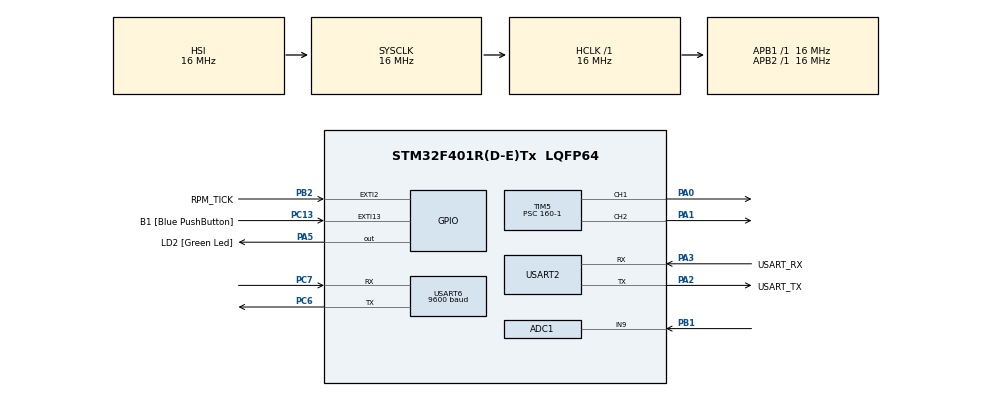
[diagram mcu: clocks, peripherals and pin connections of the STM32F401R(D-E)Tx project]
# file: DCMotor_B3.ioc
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ADC1.Channel-0\#ChannelRegularConversion=ADC_CHANNEL_9
ADC1.NbrOfConversionFlag=1
ADC1.Rank-0\#ChannelRegularConversion=1
ADC1.Resolution=ADC_RESOLUTION_8B
ADC1.SamplingTime-0\#ChannelRegularConversion=ADC_SAMPLETIME_15CYCLES
ADC1.ScanConvMode=ENABLE
ADC1.master=1
Mcu.Family=STM32F4
Mcu.Name=STM32F401R(D-E)Tx
Mcu.Package=LQFP64
NVIC.EXTI2_IRQn=true\:0\:0\:false\:false\:true\:true\:true\:true
NVIC.PriorityGroup=NVIC_PRIORITYGROUP_0
NVIC.TIM4_IRQn=true\:0\:0\:false\:false\:true\:true\:true\:true
NVIC.USART6_IRQn=true\:0\:0\:false\:false\:true\:true\:true\:true
PA0-WKUP.Signal=S_TIM5_CH1
PA1.Signal=S_TIM5_CH2
PA13.GPIO_Label=TMS
PA13.Mode=Serial_Wire
PA13.Signal=SYS_JTMS-SWDIO
PA14.GPIO_Label=TCK
PA14.Mode=Serial_Wire
PA14.Signal=SYS_JTCK-SWCLK
PA2.GPIO_Label=USART_TX
PA2.GPIO_Mode=GPIO_MODE_AF_PP
PA2.GPIO_PuPd=GPIO_NOPULL
PA2.GPIO_Speed=GPIO_SPEED_FREQ_LOW
PA2.Mode=Asynchronous
PA2.Signal=USART2_TX
PA3.GPIO_Label=USART_RX
PA3.GPIO_Mode=GPIO_MODE_AF_PP
PA3.GPIO_PuPd=GPIO_NOPULL
PA3.GPIO_Speed=GPIO_SPEED_FREQ_LOW
PA3.Mode=Asynchronous
PA3.Signal=USART2_RX
PA5.GPIO_Label=LD2 [Green Led]
PA5.GPIO_Mode=GPIO_MODE_OUTPUT_PP
PA5.GPIO_PuPd=GPIO_NOPULL
PA5.GPIO_Speed=GPIO_SPEED_FREQ_LOW
PA5.Signal=GPIO_Output
PB1.Signal=ADCx_IN9
PB2.GPIO_Label=RPM_TICK
PB2.GPIO_PuPd=GPIO_PULLDOWN
PB2.Signal=GPXTI2
PB3.GPIO_Label=SWO
PB3.Signal=SYS_JTDO-SWO
PC13-ANTI_TAMP.GPIO_Label=B1 [Blue PushButton]
PC13-ANTI_TAMP.GPIO_ModeDefaultEXTI=GPIO_MODE_IT_FALLING
PC13-ANTI_TAMP.GPIO_PuPd=GPIO_NOPULL
PC13-ANTI_TAMP.Signal=GPXTI13
PC14-OSC32_IN.Mode=LSE-External-Oscillator
PC14-OSC32_IN.Signal=RCC_OSC32_IN
PC15-OSC32_OUT.Mode=LSE-External-Oscillator
PC15-OSC32_OUT.Signal=RCC_OSC32_OUT
PC6.Mode=Asynchronous
PC6.Signal=USART6_TX
PC7.Mode=Asynchronous
PC7.Signal=USART6_RX
PH0\ -\ OSC_IN.Mode=HSE-External-Clock-Source
PH0\ -\ OSC_IN.Signal=RCC_OSC_IN
PH1\ -\ OSC_OUT.Mode=HSE-External-Clock-Source
PH1\ -\ OSC_OUT.Signal=RCC_OSC_OUT
ProjectManager.HeapSize=0x200
ProjectManager.StackSize=0x400
ProjectManager.TargetToolchain=STM32CubeIDE
RCC.48MHZClocksFreq_Value=48000000
RCC.AHBFreq_Value=16000000
RCC.APB1Freq_Value=16000000
RCC.APB1TimFreq_Value=16000000
RCC.APB2Freq_Value=16000000
RCC.APB2TimFreq_Value=16000000
RCC.CortexFreq_Value=16000000
RCC.HCLKFreq_Value=16000000
RCC.HSE_VALUE=8000000
RCC.HSI_VALUE=16000000
RCC.PLLN=336
RCC.PLLP=RCC_PLLP_DIV4
RCC.PLLQ=7
RCC.SYSCLKFreq_VALUE=16000000
RCC.VCOOutputFreq_Value=336000000
SH.ADCx_IN9.0=ADC1_IN9,IN9
SH.S_TIM5_CH1.0=TIM5_CH1,PWM Generation1 CH1
SH.S_TIM5_CH2.0=TIM5_CH2,PWM Generation2 CH2
TIM4.AutoReloadPreload=TIM_AUTORELOAD_PRELOAD_ENABLE
TIM4.Period=1000-1
TIM4.Prescaler=16000-1
TIM5.AutoReloadPreload=TIM_AUTORELOAD_PRELOAD_ENABLE
TIM5.Channel-PWM\ Generation1\ CH1=TIM_CHANNEL_1
TIM5.Channel-PWM\ Generation2\ CH2=TIM_CHANNEL_2
TIM5.Period=100-1
TIM5.Prescaler=160-1
TIM5.Pulse-PWM\ Generation1\ CH1=50-1
TIM5.Pulse-PWM\ Generation2\ CH2=50-1
USART2.VirtualMode=VM_ASYNC
USART6.BaudRate=9600
USART6.Mode=MODE_TX_RX
USART6.VirtualMode=VM_ASYNC
VP_TIM4_VS_ClockSourceINT.Mode=Internal
VP_TIM5_VS_ClockSourceINT.Mode=Internal
board=NUCLEO-F401RE

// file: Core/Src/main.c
/* USER CODE BEGIN Header */
/**
  ******************************************************************************
  * @file           : main.c
  * @brief          : Main program body
  ******************************************************************************
  * @attention
  *
  * Copyright (c) 2023 STMicroelectronics.
  * All rights reserved.
  *
  * This software is licensed under terms that can be found in the LICENSE file
  * in the root directory of this software component.
  * If no LICENSE file comes with this software, it is provided AS-IS.
  *
  ******************************************************************************
  */
/* USER CODE END Header */
#include "main.h"

/* USER CODE BEGIN PD */

uint8_t byte;
/* USER CODE END PD */

ADC_HandleTypeDef hadc1;

TIM_HandleTypeDef htim4;
TIM_HandleTypeDef htim5;

UART_HandleTypeDef huart2;
UART_HandleTypeDef huart6;

void SystemClock_Config(void);
static void MX_GPIO_Init(void);
static void MX_USART2_UART_Init(void);
static void MX_ADC1_Init(void);
static void MX_USART6_UART_Init(void);
static void MX_TIM5_Init(void);
static void MX_TIM4_Init(void);
/* USER CODE BEGIN PFP */
static void ADC_Select_CH(int CH);
/* USER CODE END PFP */

/* USER CODE BEGIN 0 */
uint8_t rcv_intpt_flag = 0;
uint16_t rpm_tick_count = 0;
void ADC_Select_CH(int CH){
	ADC_ChannelConfTypeDef sConfig = {0};
	switch(CH){
	case 0:
	sConfig.Channel = ADC_CHANNEL_0;
	sConfig.Rank = 1;
	if (HAL_ADC_ConfigChannel(&hadc1, &sConfig) != HAL_OK){
		Error_Handler();
	}
	break;
	case 1:
	sConfig.Channel = ADC_CHANNEL_1;
	sConfig.Rank = 1;
	if (HAL_ADC_ConfigChannel(&hadc1, &sConfig) != HAL_OK){
		Error_Handler();
	}
	break;
	case 2:
	sConfig.Channel = ADC_CHANNEL_2;
	sConfig.Rank = 1;
	if (HAL_ADC_ConfigChannel(&hadc1, &sConfig) != HAL_OK){
		Error_Handler();
	}
	break;
	case 3:
	sConfig.Channel = ADC_CHANNEL_3;
	sConfig.Rank = 1;
	if (HAL_ADC_ConfigChannel(&hadc1, &sConfig) != HAL_OK){
		Error_Handler();
	}
	break;
	case 4:
	sConfig.Channel = ADC_CHANNEL_4;
	sConfig.Rank = 1;
	if (HAL_ADC_ConfigChannel(&hadc1, &sConfig) != HAL_OK){
		Error_Handler();
	}
	break;
	case 5:
	sConfig.Channel = ADC_CHANNEL_5;
	sConfig.Rank = 1;
	if (HAL_ADC_ConfigChannel(&hadc1, &sConfig) != HAL_OK){
		Error_Handler();
	}
	break;
	case 6:
	sConfig.Channel = ADC_CHANNEL_6;
	sConfig.Rank = 1;
	if (HAL_ADC_ConfigChannel(&hadc1, &sConfig) != HAL_OK){
		Error_Handler();
	}
	break;
	case 7:
	sConfig.Channel = ADC_CHANNEL_7;
	sConfig.Rank = 1;
	if (HAL_ADC_ConfigChannel(&hadc1, &sConfig) != HAL_OK){
		Error_Handler();
	}
	break;
	case 8:
	sConfig.Channel = ADC_CHANNEL_8;
	sConfig.Rank = 1;
	if (HAL_ADC_ConfigChannel(&hadc1, &sConfig) != HAL_OK){
		Error_Handler();
	}
	break;
	case 9:
	sConfig.Channel = ADC_CHANNEL_9;
	sConfig.Rank = 1;
	if (HAL_ADC_ConfigChannel(&hadc1, &sConfig) != HAL_OK){
		Error_Handler();
	}
	break;
	case 10:
	sConfig.Channel = ADC_CHANNEL_10;
	sConfig.Rank = 1;
	if (HAL_ADC_ConfigChannel(&hadc1, &sConfig) != HAL_OK){
		Error_Handler();
	}
	break;
	case 11:
	sConfig.Channel = ADC_CHANNEL_11;
	sConfig.Rank = 1;
	if (HAL_ADC_ConfigChannel(&hadc1, &sConfig) != HAL_OK){
		Error_Handler();
	}
	break;
	case 12:
	sConfig.Channel = ADC_CHANNEL_12;
	sConfig.Rank = 1;
	if (HAL_ADC_ConfigChannel(&hadc1, &sConfig) != HAL_OK){
		Error_Handler();
	}
	break;
	case 13:
	sConfig.Channel = ADC_CHANNEL_13;
	sConfig.Rank = 1;
	if (HAL_ADC_ConfigChannel(&hadc1, &sConfig) != HAL_OK){
		Error_Handler();
	}
	break;
	case 14:
	sConfig.Channel = ADC_CHANNEL_14;
	sConfig.Rank = 1;
	if (HAL_ADC_ConfigChannel(&hadc1, &sConfig) != HAL_OK){
		Error_Handler();
	}
	break;
	case 15:
	sConfig.Channel = ADC_CHANNEL_15;
	sConfig.Rank = 1;
	if (HAL_ADC_ConfigChannel(&hadc1, &sConfig) != HAL_OK){
		Error_Handler();
	}
	break;
	}
}

//void DIGIT_A_Display(uint8_t DIGIT_A)
//{
//	 uint8_t DIGITA_VAL = 0x0F & DIGIT_A; //mask off higher4 buts
//
//	 switch(DIGITA_VAL)
//	 {
//	 case 0:
//		 HAL_GPIO_WritePin(GPIOB, DIGIT_A0_Pin, GPIO_PIN_RESET);
//		 HAL_GPIO_WritePin(GPIOB, DIGIT_A1_Pin, GPIO_PIN_RESET);
//		 HAL_GPIO_WritePin(GPIOB, DIGIT_A2_Pin, GPIO_PIN_RESET);
//		 HAL_GPIO_WritePin(GPIOB, DIGIT_A3_Pin, GPIO_PIN_RESET);
//	 break;
//	 case 1:
//		 HAL_GPIO_WritePin(GPIOB, DIGIT_A0_Pin, GPIO_PIN_SET);
//		 HAL_GPIO_WritePin(GPIOB, DIGIT_A1_Pin, GPIO_PIN_RESET);
//		 HAL_GPIO_WritePin(GPIOB, DIGIT_A2_Pin, GPIO_PIN_RESET);
//		 HAL_GPIO_WritePin(GPIOB, DIGIT_A3_Pin, GPIO_PIN_RESET);
//	 break;
//	 case 2:
//		 HAL_GPIO_WritePin(GPIOB, DIGIT_A0_Pin, GPIO_PIN_RESET);
//		 HAL_GPIO_WritePin(GPIOB, DIGIT_A1_Pin, GPIO_PIN_SET);
//		 HAL_GPIO_WritePin(GPIOB, DIGIT_A2_Pin, GPIO_PIN_RESET);
//		 HAL_GPIO_WritePin(GPIOB, DIGIT_A3_Pin, GPIO_PIN_RESET);
//	 break;
//	 case 3:
//		 HAL_GPIO_WritePin(GPIOB, DIGIT_A0_Pin, GPIO_PIN_SET);
//		 HAL_GPIO_WritePin(GPIOB, DIGIT_A1_Pin, GPIO_PIN_SET);
//		 HAL_GPIO_WritePin(GPIOB, DIGIT_A2_Pin, GPIO_PIN_RESET);
//		 HAL_GPIO_WritePin(GPIOB, DIGIT_A3_Pin, GPIO_PIN_RESET);
//	 break;
//	 case 4:
//		 HAL_GPIO_WritePin(GPIOB, DIGIT_A0_Pin, GPIO_PIN_RESET);
//		 HAL_GPIO_WritePin(GPIOB, DIGIT_A1_Pin, GPIO_PIN_RESET);
//		 HAL_GPIO_WritePin(GPIOB, DIGIT_A2_Pin, GPIO_PIN_SET);
//		 HAL_GPIO_WritePin(GPIOB, DIGIT_A3_Pin, GPIO_PIN_RESET);
//	 break;
//	 case 5:
//		 HAL_GPIO_WritePin(GPIOB, DIGIT_A0_Pin, GPIO_PIN_SET);
//		 HAL_GPIO_WritePin(GPIOB, DIGIT_A1_Pin, GPIO_PIN_RESET);
//		 HAL_GPIO_WritePin(GPIOB, DIGIT_A2_Pin, GPIO_PIN_SET);
//		 HAL_GPIO_WritePin(GPIOB, DIGIT_A3_Pin, GPIO_PIN_RESET);
//	 break;
//	 case 6:
//		 HAL_GPIO_WritePin(GPIOB, DIGIT_A0_Pin, GPIO_PIN_RESET);
//		 HAL_GPIO_WritePin(GPIOB, DIGIT_A1_Pin, GPIO_PIN_SET);
//		 HAL_GPIO_WritePin(GPIOB, DIGIT_A2_Pin, GPIO_PIN_SET);
//		 HAL_GPIO_WritePin(GPIOB, DIGIT_A3_Pin, GPIO_PIN_RESET);
//	 break;
//	 case 7:
//		 HAL_GPIO_WritePin(GPIOB, DIGIT_A0_Pin, GPIO_PIN_SET);
//		 HAL_GPIO_WritePin(GPIOB, DIGIT_A1_Pin, GPIO_PIN_SET);
//		 HAL_GPIO_WritePin(GPIOB, DIGIT_A2_Pin, GPIO_PIN_SET);
//		 HAL_GPIO_WritePin(GPIOB, DIGIT_A3_Pin, GPIO_PIN_RESET);
//	 break;
//	 case 8:
//		 HAL_GPIO_WritePin(GPIOB, DIGIT_A0_Pin, GPIO_PIN_RESET);
//		 HAL_GPIO_WritePin(GPIOB, DIGIT_A1_Pin, GPIO_PIN_RESET);
//		 HAL_GPIO_WritePin(GPIOB, DIGIT_A2_Pin, GPIO_PIN_RESET);
//		 HAL_GPIO_WritePin(GPIOB, DIGIT_A3_Pin, GPIO_PIN_SET);
//	 break;
//	 case 9:
//		 HAL_GPIO_WritePin(GPIOB, DIGIT_A0_Pin, GPIO_PIN_SET);
//		 HAL_GPIO_WritePin(GPIOB, DIGIT_A1_Pin, GPIO_PIN_RESET);
//		 HAL_GPIO_WritePin(GPIOB, DIGIT_A2_Pin, GPIO_PIN_RESET);
//		 HAL_GPIO_WritePin(GPIOB, DIGIT_A3_Pin, GPIO_PIN_SET);
//	 break;
//	 }
//}
//
//void DIGIT_B_Display(uint8_t DIGIT_B)
//{
//	 uint8_t DIGITB_VAL = 0x0F & DIGIT_B; //mask off higher4 buts
//
//	 switch(DIGITB_VAL)
//	 {
//	 case 0:
//		 HAL_GPIO_WritePin(GPIOB, DIGIT_B0_Pin, GPIO_PIN_RESET);
//		 HAL_GPIO_WritePin(GPIOB, DIGIT_B1_Pin, GPIO_PIN_RESET);
//		 HAL_GPIO_WritePin(GPIOB, DIGIT_B2_Pin, GPIO_PIN_RESET);
//		 HAL_GPIO_WritePin(GPIOB, DIGIT_B3_Pin, GPIO_PIN_RESET);
//	 break;
//	 case 1:
//		 HAL_GPIO_WritePin(GPIOB, DIGIT_B0_Pin, GPIO_PIN_SET);
//		 HAL_GPIO_WritePin(GPIOB, DIGIT_B1_Pin, GPIO_PIN_RESET);
//		 HAL_GPIO_WritePin(GPIOB, DIGIT_B2_Pin, GPIO_PIN_RESET);
//		 HAL_GPIO_WritePin(GPIOB, DIGIT_B3_Pin, GPIO_PIN_RESET);
//	 break;
//	 case 2:
//		 HAL_GPIO_WritePin(GPIOB, DIGIT_B0_Pin, GPIO_PIN_RESET);
//		 HAL_GPIO_WritePin(GPIOB, DIGIT_B1_Pin, GPIO_PIN_SET);
//		 HAL_GPIO_WritePin(GPIOB, DIGIT_B2_Pin, GPIO_PIN_RESET);
//		 HAL_GPIO_WritePin(GPIOB, DIGIT_B3_Pin, GPIO_PIN_RESET);
//	 break;
//	 case 3:
//		 HAL_GPIO_WritePin(GPIOB, DIGIT_B0_Pin, GPIO_PIN_SET);
//		 HAL_GPIO_WritePin(GPIOB, DIGIT_B1_Pin, GPIO_PIN_SET);
//		 HAL_GPIO_WritePin(GPIOB, DIGIT_B2_Pin, GPIO_PIN_RESET);
//		 HAL_GPIO_WritePin(GPIOB, DIGIT_B3_Pin, GPIO_PIN_RESET);
//	 break;
//	 case 4:
//		 HAL_GPIO_WritePin(GPIOB, DIGIT_B0_Pin, GPIO_PIN_RESET);
//		 HAL_GPIO_WritePin(GPIOB, DIGIT_B1_Pin, GPIO_PIN_RESET);
//		 HAL_GPIO_WritePin(GPIOB, DIGIT_B2_Pin, GPIO_PIN_SET);
//		 HAL_GPIO_WritePin(GPIOB, DIGIT_B3_Pin, GPIO_PIN_RESET);
//	 break;
//	 case 5:
//		 HAL_GPIO_WritePin(GPIOB, DIGIT_B0_Pin, GPIO_PIN_SET);
//		 HAL_GPIO_WritePin(GPIOB, DIGIT_B1_Pin, GPIO_PIN_RESET);
//		 HAL_GPIO_WritePin(GPIOB, DIGIT_B2_Pin, GPIO_PIN_SET);
//		 HAL_GPIO_WritePin(GPIOB, DIGIT_B3_Pin, GPIO_PIN_RESET);
//	 break;
//	 case 6:
//		 HAL_GPIO_WritePin(GPIOB, DIGIT_B0_Pin, GPIO_PIN_RESET);
//		 HAL_GPIO_WritePin(GPIOB, DIGIT_B1_Pin, GPIO_PIN_SET);
//		 HAL_GPIO_WritePin(GPIOB, DIGIT_B2_Pin, GPIO_PIN_SET);
//		 HAL_GPIO_WritePin(GPIOB, DIGIT_B3_Pin, GPIO_PIN_RESET);
//	 break;
//	 case 7:
//		 HAL_GPIO_WritePin(GPIOB, DIGIT_B0_Pin, GPIO_PIN_SET);
//		 HAL_GPIO_WritePin(GPIOB, DIGIT_B1_Pin, GPIO_PIN_SET);
//		 HAL_GPIO_WritePin(GPIOB, DIGIT_B2_Pin, GPIO_PIN_SET);
//		 HAL_GPIO_WritePin(GPIOB, DIGIT_B3_Pin, GPIO_PIN_RESET);
//	 break;
//	 case 8:
//		 HAL_GPIO_WritePin(GPIOB, DIGIT_B0_Pin, GPIO_PIN_RESET);
//		 HAL_GPIO_WritePin(GPIOB, DIGIT_B1_Pin, GPIO_PIN_RESET);
//		 HAL_GPIO_WritePin(GPIOB, DIGIT_B2_Pin, GPIO_PIN_RESET);
//		 HAL_GPIO_WritePin(GPIOB, DIGIT_B3_Pin, GPIO_PIN_SET);
//	 break;
//	 case 9:
//		 HAL_GPIO_WritePin(GPIOB, DIGIT_B0_Pin, GPIO_PIN_SET);
//		 HAL_GPIO_WritePin(GPIOB, DIGIT_B1_Pin, GPIO_PIN_RESET);
//		 HAL_GPIO_WritePin(GPIOB, DIGIT_B2_Pin, GPIO_PIN_RESET);
//		 HAL_GPIO_WritePin(GPIOB, DIGIT_B3_Pin, GPIO_PIN_SET);
//	 break;
//	 }
//}

/* USER CODE END 0 */

int main(void)
{
  /* USER CODE BEGIN 1 */
	uint8_t txd_msg_buffer[64] = {0};
	uint8_t rpm;
	int controlMode = 0;
	uint8_t motorSpeed;
  /* USER CODE END 1 */

  /* MCU Configuration--------------------------------------------------------*/

  /* Reset of all peripherals, Initializes the Flash interface and the Systick. */
  HAL_Init();

  /* Configure the system clock */
  SystemClock_Config();

  /* Initialize all configured peripherals */
  MX_GPIO_Init();
  MX_USART2_UART_Init();
  MX_ADC1_Init();
  MX_USART6_UART_Init();
  MX_TIM5_Init();
  MX_TIM4_Init();
  /* USER CODE BEGIN 2 */

  HAL_TIM_Base_Init(&htim5);
  HAL_TIM_PWM_Start(&htim5, TIM_CHANNEL_1);
  HAL_TIM_PWM_Start(&htim5, TIM_CHANNEL_2);

uint32_t RPM =0;
uint32_t time = 0;
uint32_t new_time=0;

sprintf((char*)txd_msg_buffer, "\r\n SETUP MODE");
HAL_UART_Transmit(&huart6,txd_msg_buffer, strlen((char*)txd_msg_buffer), 1000);

sprintf((char*)txd_msg_buffer, "\r\n MOTOR SPEED - enter 0 for manual mode: ");
HAL_UART_Transmit(&huart6,txd_msg_buffer, strlen((char*)txd_msg_buffer), 1000);
rcv_intpt_flag = 00;
HAL_UART_Receive_IT(&huart6, &byte, 1);

while(rcv_intpt_flag == (00)){}

controlMode = byte - '0';
  /* USER CODE END 2 */

  /* Infinite loop */
  /* USER CODE BEGIN WHILE */
HAL_TIM_Base_Start_IT(&htim4);
time = HAL_GetTick();
  while (1)
  {
	  //potentiometer code
	  //manual mode

	  ADC_Select_CH(9);
	  HAL_ADC_Start(&hadc1);
	  HAL_ADC_PollForConversion(&hadc1, 1000);
	  uint8_t ADC_CH9 = HAL_ADC_GetValue(&hadc1);
	  HAL_ADC_Stop(&hadc1);
	  if(controlMode == 0){
		  motorSpeed = ADC_CH9;
	  }
	  else{
		  motorSpeed = controlMode*10;
	  }

	  //motor code
	  if (ADC_CH9 <= 127){
		  TIM5->CCR2 = 0;
		  TIM5->CCR1 = 50 + ((255 - 50) / (127 - 0)) * (motorSpeed - 0);
		  //output = output_start + ((output_end - output_start) / (input_end - input_start)) * (input - input_start)

	  }
	  else{
		  TIM5->CCR1 = 0;
		  TIM5->CCR2 = 50 + ((255 - 50) / (255 - 128)) * (motorSpeed - 128);
	  }

	  if (HAL_GetTick() - time >= 1000)
	     {
		  RPM = (rpm_tick_count/20)*60;
		  rpm_tick_count =0;
		  sprintf((char*)txd_msg_buffer, "\r\n RPM: %d",RPM);
		  HAL_UART_Transmit(&huart6,txd_msg_buffer, strlen((char*)txd_msg_buffer), 1000);
		  time = HAL_GetTick();
	     }

	  //sprintf(txd_msg_buffer, ADC_CH9);
	  //HAL_UART_Transmit(&hadc1,txd_msg_buffer, strlen((char*)txd_msg_buffer), 1000);

    /* USER CODE END WHILE */

  }
}

void SystemClock_Config(void)
{
  RCC_OscInitTypeDef RCC_OscInitStruct = {0};
  RCC_ClkInitTypeDef RCC_ClkInitStruct = {0};

  /** Configure the main internal regulator output voltage
  */
  __HAL_RCC_PWR_CLK_ENABLE();
  __HAL_PWR_VOLTAGESCALING_CONFIG(PWR_REGULATOR_VOLTAGE_SCALE2);

  /** Initializes the RCC Oscillators according to the specified parameters
  * in the RCC_OscInitTypeDef structure.
  */
  RCC_OscInitStruct.OscillatorType = RCC_OSCILLATORTYPE_HSI;
  RCC_OscInitStruct.HSIState = RCC_HSI_ON;
  RCC_OscInitStruct.HSICalibrationValue = RCC_HSICALIBRATION_DEFAULT;
  RCC_OscInitStruct.PLL.PLLState = RCC_PLL_NONE;
  if (HAL_RCC_OscConfig(&RCC_OscInitStruct) != HAL_OK)
  {
    Error_Handler();
  }

  /** Initializes the CPU, AHB and APB buses clocks
  */
  RCC_ClkInitStruct.ClockType = RCC_CLOCKTYPE_HCLK|RCC_CLOCKTYPE_SYSCLK
                              |RCC_CLOCKTYPE_PCLK1|RCC_CLOCKTYPE_PCLK2;
  RCC_ClkInitStruct.SYSCLKSource = RCC_SYSCLKSOURCE_HSI;
  RCC_ClkInitStruct.AHBCLKDivider = RCC_SYSCLK_DIV1;
  RCC_ClkInitStruct.APB1CLKDivider = RCC_HCLK_DIV1;
  RCC_ClkInitStruct.APB2CLKDivider = RCC_HCLK_DIV1;

  if (HAL_RCC_ClockConfig(&RCC_ClkInitStruct, FLASH_LATENCY_0) != HAL_OK)
  {
    Error_Handler();
  }
}

static void MX_ADC1_Init(void)
{

  ADC_ChannelConfTypeDef sConfig = {0};

  /** Configure the global features of the ADC (Clock, Resolution, Data Alignment and number of conversion)
  */
  hadc1.Instance = ADC1;
  hadc1.Init.ClockPrescaler = ADC_CLOCK_SYNC_PCLK_DIV2;
  hadc1.Init.Resolution = ADC_RESOLUTION_8B;
  hadc1.Init.ScanConvMode = ENABLE;
  hadc1.Init.ContinuousConvMode = DISABLE;
  hadc1.Init.DiscontinuousConvMode = DISABLE;
  hadc1.Init.ExternalTrigConvEdge = ADC_EXTERNALTRIGCONVEDGE_NONE;
  hadc1.Init.ExternalTrigConv = ADC_SOFTWARE_START;
  hadc1.Init.DataAlign = ADC_DATAALIGN_RIGHT;
  hadc1.Init.NbrOfConversion = 1;
  hadc1.Init.DMAContinuousRequests = DISABLE;
  hadc1.Init.EOCSelection = ADC_EOC_SINGLE_CONV;
  if (HAL_ADC_Init(&hadc1) != HAL_OK)
  {
    Error_Handler();
  }

  /** Configure for the selected ADC regular channel its corresponding rank in the sequencer and its sample time.
  */
  sConfig.Channel = ADC_CHANNEL_9;
  sConfig.Rank = 1;
  sConfig.SamplingTime = ADC_SAMPLETIME_15CYCLES;
  if (HAL_ADC_ConfigChannel(&hadc1, &sConfig) != HAL_OK)
  {
    Error_Handler();
  }

}

static void MX_TIM4_Init(void)
{

  TIM_ClockConfigTypeDef sClockSourceConfig = {0};
  TIM_MasterConfigTypeDef sMasterConfig = {0};

  htim4.Instance = TIM4;
  htim4.Init.Prescaler = 16000-1;
  htim4.Init.CounterMode = TIM_COUNTERMODE_UP;
  htim4.Init.Period = 1000-1;
  htim4.Init.ClockDivision = TIM_CLOCKDIVISION_DIV1;
  htim4.Init.AutoReloadPreload = TIM_AUTORELOAD_PRELOAD_ENABLE;
  if (HAL_TIM_Base_Init(&htim4) != HAL_OK)
  {
    Error_Handler();
  }
  sClockSourceConfig.ClockSource = TIM_CLOCKSOURCE_INTERNAL;
  if (HAL_TIM_ConfigClockSource(&htim4, &sClockSourceConfig) != HAL_OK)
  {
    Error_Handler();
  }
  sMasterConfig.MasterOutputTrigger = TIM_TRGO_RESET;
  sMasterConfig.MasterSlaveMode = TIM_MASTERSLAVEMODE_DISABLE;
  if (HAL_TIMEx_MasterConfigSynchronization(&htim4, &sMasterConfig) != HAL_OK)
  {
    Error_Handler();
  }

}

static void MX_TIM5_Init(void)
{

  TIM_ClockConfigTypeDef sClockSourceConfig = {0};
  TIM_MasterConfigTypeDef sMasterConfig = {0};
  TIM_OC_InitTypeDef sConfigOC = {0};

  htim5.Instance = TIM5;
  htim5.Init.Prescaler = 160-1;
  htim5.Init.CounterMode = TIM_COUNTERMODE_UP;
  htim5.Init.Period = 100-1;
  htim5.Init.ClockDivision = TIM_CLOCKDIVISION_DIV1;
  htim5.Init.AutoReloadPreload = TIM_AUTORELOAD_PRELOAD_ENABLE;
  if (HAL_TIM_Base_Init(&htim5) != HAL_OK)
  {
    Error_Handler();
  }
  sClockSourceConfig.ClockSource = TIM_CLOCKSOURCE_INTERNAL;
  if (HAL_TIM_ConfigClockSource(&htim5, &sClockSourceConfig) != HAL_OK)
  {
    Error_Handler();
  }
  if (HAL_TIM_PWM_Init(&htim5) != HAL_OK)
  {
    Error_Handler();
  }
  sMasterConfig.MasterOutputTrigger = TIM_TRGO_RESET;
  sMasterConfig.MasterSlaveMode = TIM_MASTERSLAVEMODE_DISABLE;
  if (HAL_TIMEx_MasterConfigSynchronization(&htim5, &sMasterConfig) != HAL_OK)
  {
    Error_Handler();
  }
  sConfigOC.OCMode = TIM_OCMODE_PWM1;
  sConfigOC.Pulse = 50-1;
  sConfigOC.OCPolarity = TIM_OCPOLARITY_HIGH;
  sConfigOC.OCFastMode = TIM_OCFAST_DISABLE;
  if (HAL_TIM_PWM_ConfigChannel(&htim5, &sConfigOC, TIM_CHANNEL_1) != HAL_OK)
  {
    Error_Handler();
  }
  if (HAL_TIM_PWM_ConfigChannel(&htim5, &sConfigOC, TIM_CHANNEL_2) != HAL_OK)
  {
    Error_Handler();
  }
  HAL_TIM_MspPostInit(&htim5);

}

static void MX_USART2_UART_Init(void)
{

  huart2.Instance = USART2;
  huart2.Init.BaudRate = 115200;
  huart2.Init.WordLength = UART_WORDLENGTH_8B;
  huart2.Init.StopBits = UART_STOPBITS_1;
  huart2.Init.Parity = UART_PARITY_NONE;
  huart2.Init.Mode = UART_MODE_TX_RX;
  huart2.Init.HwFlowCtl = UART_HWCONTROL_NONE;
  huart2.Init.OverSampling = UART_OVERSAMPLING_16;
  if (HAL_UART_Init(&huart2) != HAL_OK)
  {
    Error_Handler();
  }

}

static void MX_USART6_UART_Init(void)
{

  huart6.Instance = USART6;
  huart6.Init.BaudRate = 9600;
  huart6.Init.WordLength = UART_WORDLENGTH_8B;
  huart6.Init.StopBits = UART_STOPBITS_1;
  huart6.Init.Parity = UART_PARITY_NONE;
  huart6.Init.Mode = UART_MODE_TX_RX;
  huart6.Init.HwFlowCtl = UART_HWCONTROL_NONE;
  huart6.Init.OverSampling = UART_OVERSAMPLING_16;
  if (HAL_UART_Init(&huart6) != HAL_OK)
  {
    Error_Handler();
  }

}

static void MX_GPIO_Init(void)
{
  GPIO_InitTypeDef GPIO_InitStruct = {0};

  /* GPIO Ports Clock Enable */
  __HAL_RCC_GPIOC_CLK_ENABLE();
  __HAL_RCC_GPIOH_CLK_ENABLE();
  __HAL_RCC_GPIOA_CLK_ENABLE();
  __HAL_RCC_GPIOB_CLK_ENABLE();

  /*Configure GPIO pin Output Level */
  HAL_GPIO_WritePin(LD2_GPIO_Port, LD2_Pin, GPIO_PIN_RESET);

  /*Configure GPIO pin : B1_Pin */
  GPIO_InitStruct.Pin = B1_Pin;
  GPIO_InitStruct.Mode = GPIO_MODE_IT_FALLING;
  GPIO_InitStruct.Pull = GPIO_NOPULL;
  HAL_GPIO_Init(B1_GPIO_Port, &GPIO_InitStruct);

  /*Configure GPIO pin : LD2_Pin */
  GPIO_InitStruct.Pin = LD2_Pin;
  GPIO_InitStruct.Mode = GPIO_MODE_OUTPUT_PP;
  GPIO_InitStruct.Pull = GPIO_NOPULL;
  GPIO_InitStruct.Speed = GPIO_SPEED_FREQ_LOW;
  HAL_GPIO_Init(LD2_GPIO_Port, &GPIO_InitStruct);

  /*Configure GPIO pin : RPM_TICK_Pin */
  GPIO_InitStruct.Pin = RPM_TICK_Pin;
  GPIO_InitStruct.Mode = GPIO_MODE_IT_RISING;
  GPIO_InitStruct.Pull = GPIO_PULLDOWN;
  HAL_GPIO_Init(RPM_TICK_GPIO_Port, &GPIO_InitStruct);

  /* EXTI interrupt init*/
  HAL_NVIC_SetPriority(EXTI2_IRQn, 0, 0);
  HAL_NVIC_EnableIRQ(EXTI2_IRQn);

}

/* USER CODE BEGIN 4 */
void HAL_GPIO_EXTI_Callback(uint16_t GPIO_Pin){
	if(GPIO_Pin == RPM_TICK_Pin){
		rpm_tick_count += 1;
	}
}

void HAL_UART_RxCpltCallback(UART_HandleTypeDef *huart){
	if (huart->Instance == USART6){
		HAL_UART_Transmit(&huart6, &byte, 1, 100);
		rcv_intpt_flag = 1;
	}
}
/* USER CODE END 4 */

void Error_Handler(void)
{
  __disable_irq();
  while (1)
  {
  }
}
